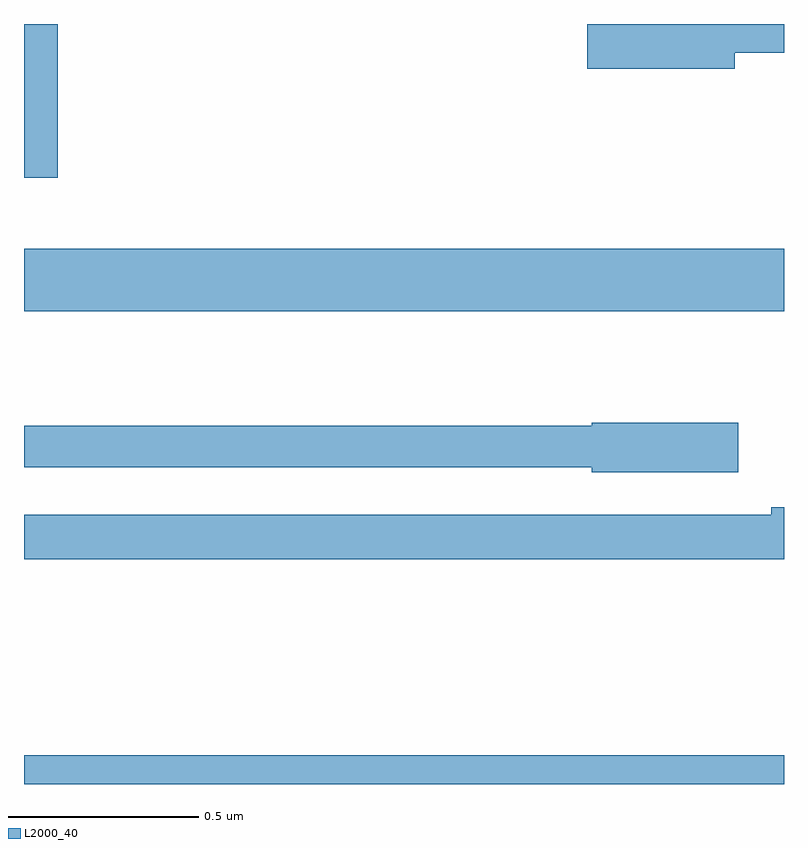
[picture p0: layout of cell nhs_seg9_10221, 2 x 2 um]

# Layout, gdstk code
import gdstk
lib = gdstk.Library(unit=1e-6, precision=1e-09)
def R(c, l, rs):  # rectangles x0, y0, x1, y1
    for r in rs: c.add(gdstk.rectangle(r[:2], r[2:], *l))
def P(c, l, *ps):  # polygons
    for p in ps: c.add(gdstk.Polygon(p, *l))
L2000_40 = (2000, 40)

nhs_seg9_10221 = lib.new_cell('nhs_seg9_10221')
R(nhs_seg9_10221, L2000_40, [(240,1204.5,242,1204.576), (240,1205.744,242,1205.908), (240,1206.096,240.089,1206.5)])
P(nhs_seg9_10221, L2000_40, [(241.87,1206.424),(242,1206.424),(242,1206.5),(241.482,1206.5),(241.482,1206.382),(241.87,1206.382)],
  [(241.879,1205.451),(241.494,1205.451),(241.494,1205.443),(240,1205.443),(240,1205.334),(241.494,1205.334),(241.494,1205.321),(241.879,1205.321)],
  [(242,1205.228),(241.966,1205.228),(241.966,1205.208),(240,1205.208),(240,1205.092),(242,1205.092)])

lib.write_gds('nhs_seg9_10221.gds')
